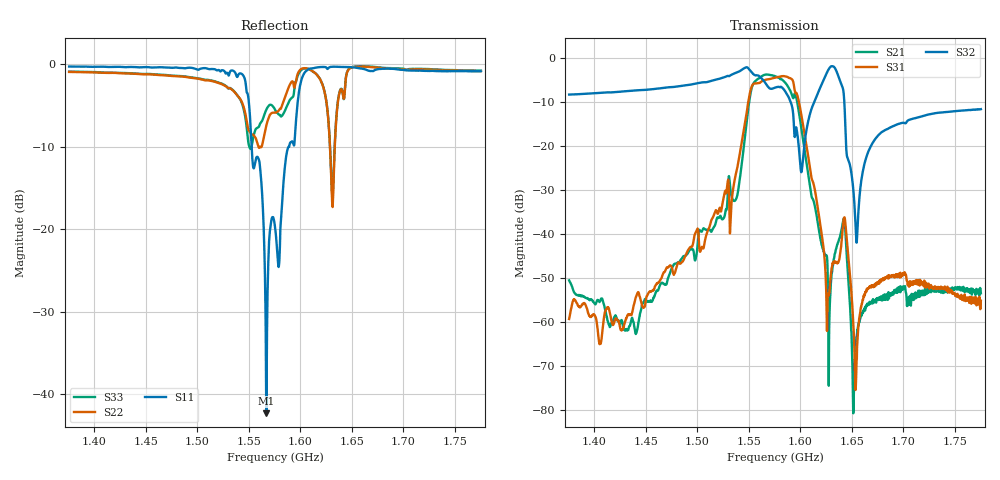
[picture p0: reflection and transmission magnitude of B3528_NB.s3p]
! Matrix data file written by TouchstoneData, EPCOS AG
! FILENAME: "LU67B2_5_NB.s3p_newformat"
! COMMENT: "(LU67B2_5_NB.s3p) EPCOS AG 18.04.2011 16:08:"
! INFO: nport=3, nfreq=1601
! DATE: "Mon Apr 18 17:00:02 2011"
! USER: "Michael Schemies"
! port | pin | signal
!  1  |  2  |  input
!  2  |  4  |  output
!  3  |  6  |  output
# MHZ S MA R 50
! freq  magS11 angS11  magS12 angS12  magS13 angS13  ...
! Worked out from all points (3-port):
!   1601 points, 1.375 GHz to 1.775 GHz, reference 50 ohm
!   strongest paths, dB at 1.375 GHz, 1.475 GHz, 1.575 GHz, 1.675 GHz, 1.775 GHz:
!     S32: -8.2, -6.5, -6.7, -17.6, -11.5
!     S31: -59.2, -47.7, -4.4, -50.9, -55.1
!     S21: -50.4, -47.6, -4.0, -54.9, -53.4
!   lowest |S11| = -42.3 dB at 1.567 GHz (marker M1), VSWR 1.02, Z = 49.4 - j0.436 ohm
!   |S11| at or under -10 dB: 1.553 GHz to 1.589 GHz (35.79 MHz wide, 2.28 % of centre); 1.588839 GHz to 1.589177 GHz (337.9 kHz wide, 0.0213 % of centre)
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1375.42  0.9699 -85.1  0.003009 39.9  0.00109 69.1
         0.003004 40.1  0.8994 -60.6  0.3883 28.0
         0.001092 68.8  0.3877 27.9  0.9037 -61.1
1440.92  0.9615 -94.5  0.0007636 145.2  0.002016 160.5
         0.0007661 144.9  0.8752 -65.2  0.4334 22.9
         0.002022 160.3  0.433 22.8  0.8788 -66.5
1544.67  0.8544 172.3  0.08986 -121.5  0.1426 108.2
         0.08955 -121.6  0.5594 -92.6  0.7619 -9.3
         0.1422 108.0  0.7624 -9.3  0.5442 -95.1
1566.92  0.007646 -144.7  0.656 46.9  0.5735 -138.1
         0.6552 46.9  0.4233 -37.6  0.5068 -44.6
         0.5736 -138.1  0.5062 -44.5  0.53 -47.1
1575.42  0.1033 -86.4  0.629 -16.5  0.6041 154.4
         0.6282 -16.5  0.5095 -40.6  0.4643 -40.9
         0.6039 154.2  0.4643 -40.9  0.5314 -54.8
1600.17  0.7634 67.2  0.1875 114.6  0.2602 -65.8
         0.1877 114.6  0.9302 -42.9  0.05869 -52.5
         0.2596 -65.8  0.05874 -52.5  0.9129 -40.6
1628.42  0.9607 -37.5  0.001307 104.0  0.002301 -24.2
         0.001292 104.1  0.356 -96.3  0.7796 -28.4
         0.002285 -24.4  0.7794 -28.4  0.3622 -94.6
1642.42  0.9637 -50.5  0.01497 -15.6  0.01545 -35.2
         0.01495 -15.6  0.6192 -20.4  0.3663 -157.7
         0.01542 -35.1  0.3662 -157.7  0.6157 -22.0
1651.92  0.9582 -56.6  0.0001469 104.6  0.0008007 -127.8
         0.0001442 105.7  0.9627 -35.8  0.02824 -112.3
         0.0008118 -128.1  0.02818 -112.3  0.9675 -37.3
1775.42  0.9088 -79.2  0.002143 83.9  0.001781 68.5
         0.002144 83.8  0.9102 -62.2  0.2651 20.4
         0.001764 68.6  0.2647 20.5  0.9156 -63.2
